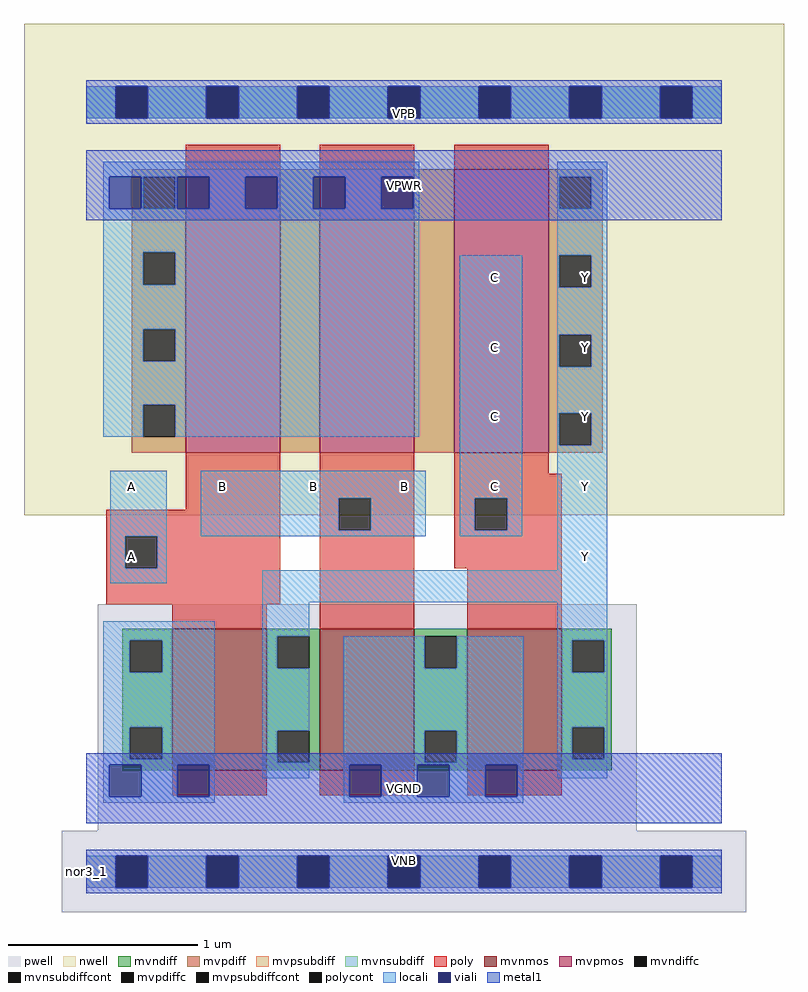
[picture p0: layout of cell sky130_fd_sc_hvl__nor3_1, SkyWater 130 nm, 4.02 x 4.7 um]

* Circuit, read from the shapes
.subckt sky130_fd_sc_hvl__nor3_1 A B C VGND VNB VPB VPWR Y
XM1 Y A VGND VNB sky130_fd_pr__nfet_g5v0d10v5 w=0.75 l=0.5
XM2 VGND B Y VNB sky130_fd_pr__nfet_g5v0d10v5 w=0.75 l=0.5
XM3 Y C VGND VNB sky130_fd_pr__nfet_g5v0d10v5 w=0.75 l=0.5
XM4 n1 A VPWR VPB sky130_fd_pr__pfet_g5v0d10v5 w=1.5 l=0.5
XM5 n2 B n1 VPB sky130_fd_pr__pfet_g5v0d10v5 w=1.5 l=0.5
XM6 Y C n2 VPB sky130_fd_pr__pfet_g5v0d10v5 w=1.5 l=0.5
.ends

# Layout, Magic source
magic
tech sky130A
magscale 1 2
<< nwell >>
rect -66 377 738 897
<< pwell >>
rect 12 43 582 283
rect -26 -43 698 43
<< mvnmos >>
rect 91 107 191 257
rect 247 107 347 257
rect 403 107 503 257
<< mvpmos >>
rect 105 443 205 743
rect 247 443 347 743
rect 389 443 489 743
<< mvndiff >>
rect 38 245 91 257
rect 38 211 46 245
rect 80 211 91 245
rect 38 153 91 211
rect 38 119 46 153
rect 80 119 91 153
rect 38 107 91 119
rect 191 249 247 257
rect 191 215 202 249
rect 236 215 247 249
rect 191 149 247 215
rect 191 115 202 149
rect 236 115 247 149
rect 191 107 247 115
rect 347 249 403 257
rect 347 215 358 249
rect 392 215 403 249
rect 347 149 403 215
rect 347 115 358 149
rect 392 115 403 149
rect 347 107 403 115
rect 503 245 556 257
rect 503 211 514 245
rect 548 211 556 245
rect 503 153 556 211
rect 503 119 514 153
rect 548 119 556 153
rect 503 107 556 119
<< mvpdiff >>
rect 48 735 105 743
rect 48 701 60 735
rect 94 701 105 735
rect 48 655 105 701
rect 48 621 60 655
rect 94 621 105 655
rect 48 574 105 621
rect 48 540 60 574
rect 94 540 105 574
rect 48 494 105 540
rect 48 460 60 494
rect 94 460 105 494
rect 48 443 105 460
rect 205 443 247 743
rect 347 443 389 743
rect 489 735 546 743
rect 489 701 500 735
rect 534 701 546 735
rect 489 652 546 701
rect 489 618 500 652
rect 534 618 546 652
rect 489 568 546 618
rect 489 534 500 568
rect 534 534 546 568
rect 489 485 546 534
rect 489 451 500 485
rect 534 451 546 485
rect 489 443 546 451
<< mvndiffc >>
rect 46 211 80 245
rect 46 119 80 153
rect 202 215 236 249
rect 202 115 236 149
rect 358 215 392 249
rect 358 115 392 149
rect 514 211 548 245
rect 514 119 548 153
<< mvpdiffc >>
rect 60 701 94 735
rect 60 621 94 655
rect 60 540 94 574
rect 60 460 94 494
rect 500 701 534 735
rect 500 618 534 652
rect 500 534 534 568
rect 500 451 534 485
<< mvpsubdiff >>
rect 0 -17 31 17
rect 65 -17 127 17
rect 161 -17 223 17
rect 257 -17 319 17
rect 353 -17 415 17
rect 449 -17 511 17
rect 545 -17 607 17
rect 641 -17 672 17
<< mvnsubdiff >>
rect 0 797 31 831
rect 65 797 127 831
rect 161 797 223 831
rect 257 797 319 831
rect 353 797 415 831
rect 449 797 511 831
rect 545 797 607 831
rect 641 797 672 831
<< mvpsubdiffcont >>
rect 31 -17 65 17
rect 127 -17 161 17
rect 223 -17 257 17
rect 319 -17 353 17
rect 415 -17 449 17
rect 511 -17 545 17
rect 607 -17 641 17
<< mvnsubdiffcont >>
rect 31 797 65 831
rect 127 797 161 831
rect 223 797 257 831
rect 319 797 353 831
rect 415 797 449 831
rect 511 797 545 831
rect 607 797 641 831
<< poly >>
rect 105 743 205 769
rect 247 743 347 769
rect 389 743 489 769
rect 105 383 205 443
rect 21 355 205 383
rect 21 321 41 355
rect 75 321 205 355
rect 21 283 205 321
rect 247 395 347 443
rect 247 361 267 395
rect 301 361 347 395
rect 91 257 191 283
rect 247 257 347 361
rect 389 421 489 443
rect 389 395 503 421
rect 389 361 411 395
rect 445 361 503 395
rect 389 321 503 361
rect 403 257 503 321
rect 91 81 191 107
rect 247 81 347 107
rect 403 81 503 107
<< polycont >>
rect 41 321 75 355
rect 267 361 301 395
rect 411 361 445 395
<< locali >>
rect 0 797 31 831
rect 65 797 127 831
rect 161 797 223 831
rect 257 797 319 831
rect 353 797 415 831
rect 449 797 511 831
rect 545 797 607 831
rect 641 797 672 831
rect 18 735 352 751
rect 18 701 24 735
rect 58 701 60 735
rect 94 701 96 735
rect 130 701 168 735
rect 202 701 240 735
rect 274 701 312 735
rect 346 701 352 735
rect 18 655 352 701
rect 18 621 60 655
rect 94 621 352 655
rect 498 735 551 751
rect 498 701 500 735
rect 534 701 551 735
rect 498 652 551 701
rect 18 574 352 621
rect 18 540 60 574
rect 94 540 352 574
rect 18 494 352 540
rect 18 460 60 494
rect 94 460 352 494
rect 25 355 85 424
rect 121 395 359 424
rect 121 361 267 395
rect 301 361 359 395
rect 121 355 359 361
rect 395 395 461 652
rect 395 361 411 395
rect 445 361 461 395
rect 395 355 461 361
rect 498 618 500 652
rect 534 618 551 652
rect 498 568 551 618
rect 498 534 500 568
rect 534 534 551 568
rect 498 485 551 534
rect 498 451 500 485
rect 534 451 551 485
rect 25 321 41 355
rect 75 321 85 355
rect 25 305 85 321
rect 498 319 551 451
rect 186 285 551 319
rect 18 245 136 265
rect 18 211 46 245
rect 80 211 136 245
rect 18 153 136 211
rect 18 119 46 153
rect 80 119 136 153
rect 18 113 136 119
rect 18 79 24 113
rect 58 79 96 113
rect 130 79 136 113
rect 186 249 236 285
rect 186 215 202 249
rect 186 149 236 215
rect 186 115 202 149
rect 186 99 236 115
rect 272 215 358 249
rect 392 215 462 249
rect 272 149 462 215
rect 272 115 358 149
rect 392 115 462 149
rect 272 113 462 115
rect 18 73 136 79
rect 272 79 278 113
rect 312 79 350 113
rect 384 79 422 113
rect 456 79 462 113
rect 498 245 551 285
rect 498 211 514 245
rect 548 211 551 245
rect 498 153 551 211
rect 498 119 514 153
rect 548 119 551 153
rect 498 99 551 119
rect 272 73 462 79
rect 0 -17 31 17
rect 65 -17 127 17
rect 161 -17 223 17
rect 257 -17 319 17
rect 353 -17 415 17
rect 449 -17 511 17
rect 545 -17 607 17
rect 641 -17 672 17
<< viali >>
rect 31 797 65 831
rect 127 797 161 831
rect 223 797 257 831
rect 319 797 353 831
rect 415 797 449 831
rect 511 797 545 831
rect 607 797 641 831
rect 24 701 58 735
rect 96 701 130 735
rect 168 701 202 735
rect 240 701 274 735
rect 312 701 346 735
rect 24 79 58 113
rect 96 79 130 113
rect 278 79 312 113
rect 350 79 384 113
rect 422 79 456 113
rect 31 -17 65 17
rect 127 -17 161 17
rect 223 -17 257 17
rect 319 -17 353 17
rect 415 -17 449 17
rect 511 -17 545 17
rect 607 -17 641 17
<< metal1 >>
rect 0 831 672 837
rect 0 797 31 831
rect 65 797 127 831
rect 161 797 223 831
rect 257 797 319 831
rect 353 797 415 831
rect 449 797 511 831
rect 545 797 607 831
rect 641 797 672 831
rect 0 791 672 797
rect 0 735 672 763
rect 0 701 24 735
rect 58 701 96 735
rect 130 701 168 735
rect 202 701 240 735
rect 274 701 312 735
rect 346 701 672 735
rect 0 689 672 701
rect 0 113 672 125
rect 0 79 24 113
rect 58 79 96 113
rect 130 79 278 113
rect 312 79 350 113
rect 384 79 422 113
rect 456 79 672 113
rect 0 51 672 79
rect 0 17 672 23
rect 0 -17 31 17
rect 65 -17 127 17
rect 161 -17 223 17
rect 257 -17 319 17
rect 353 -17 415 17
rect 449 -17 511 17
rect 545 -17 607 17
rect 641 -17 672 17
rect 0 -23 672 -17
<< labels >>
rlabel comment s 0 0 0 0 4 nor3_1
flabel metal1 s 0 51 672 125 0 FreeSans 340 0 0 0 VGND
port 4 nsew ground bidirectional
flabel metal1 s 0 0 672 23 0 FreeSans 340 0 0 0 VNB
port 5 nsew ground bidirectional
flabel metal1 s 0 689 672 763 0 FreeSans 340 0 0 0 VPWR
port 7 nsew power bidirectional
flabel metal1 s 0 791 672 814 0 FreeSans 340 0 0 0 VPB
port 6 nsew power bidirectional
flabel locali s 31 316 65 350 0 FreeSans 340 0 0 0 A
port 1 nsew signal input
flabel locali s 31 390 65 424 0 FreeSans 340 0 0 0 A
port 1 nsew signal input
flabel locali s 127 390 161 424 0 FreeSans 340 0 0 0 B
port 2 nsew signal input
flabel locali s 223 390 257 424 0 FreeSans 340 0 0 0 B
port 2 nsew signal input
flabel locali s 319 390 353 424 0 FreeSans 340 0 0 0 B
port 2 nsew signal input
flabel locali s 415 390 449 424 0 FreeSans 340 0 0 0 C
port 3 nsew signal input
flabel locali s 415 464 449 498 0 FreeSans 340 0 0 0 C
port 3 nsew signal input
flabel locali s 415 538 449 572 0 FreeSans 340 0 0 0 C
port 3 nsew signal input
flabel locali s 415 612 449 646 0 FreeSans 340 0 0 0 C
port 3 nsew signal input
flabel locali s 511 316 545 350 0 FreeSans 340 0 0 0 Y
port 8 nsew signal output
flabel locali s 511 390 545 424 0 FreeSans 340 0 0 0 Y
port 8 nsew signal output
flabel locali s 511 464 545 498 0 FreeSans 340 0 0 0 Y
port 8 nsew signal output
flabel locali s 511 538 545 572 0 FreeSans 340 0 0 0 Y
port 8 nsew signal output
flabel locali s 511 612 545 646 0 FreeSans 340 0 0 0 Y
port 8 nsew signal output
<< properties >>
string FIXED_BBOX 0 0 672 814
string GDS_END 187942
string GDS_FILE $PDKPATH/libs.ref/sky130_fd_sc_hvl/gds/sky130_fd_sc_hvl.gds
string GDS_START 179782
string LEFclass CORE
string LEFsite unithv
string LEFsymmetry X Y
<< end >>
